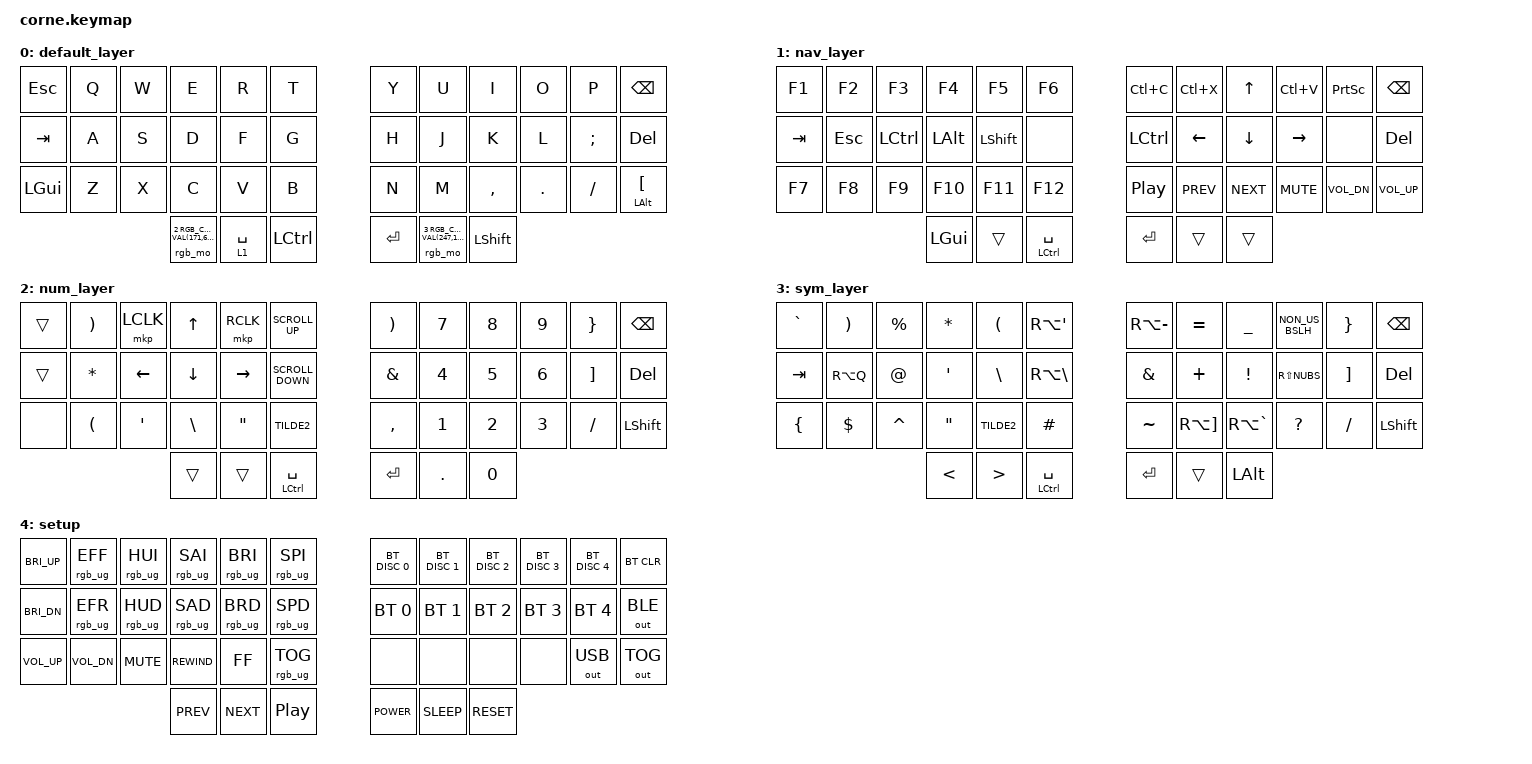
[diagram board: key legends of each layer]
/*
 * Copyright (c) 2020 The ZMK Contributors
 *
 * SPDX-License-Identifier: MIT
 */

#include <dt-bindings/led/led.h>
#include <behaviors.dtsi>
#include <dt-bindings/zmk/mouse.h>
#include <dt-bindings/zmk/bt.h>
#include <dt-bindings/zmk/keys.h>
#include <dt-bindings/zmk/outputs.h>
#include <dt-bindings/zmk/pointing.h>
#include <dt-bindings/zmk/rgb.h>

#define DVO     0
#define NAV     1
#define NUM     2
#define SYM     3
#define SUP     4

/ {
    macros {
        rgb_mo: rgb_mo {
            compatible = "zmk,behavior-macro-two-param";
            #binding-cells = <2>;
            bindings =
                <&macro_press>,
                <&macro_param_1to1 &mo MACRO_PLACEHOLDER>,
                <&macro_tap>,
                <&macro_param_2to2 &rgb_ug RGB_COLOR_HSB_CMD MACRO_PLACEHOLDER>,
                <&macro_pause_for_release>,
                <&macro_release>,
                <&macro_param_1to1 &mo MACRO_PLACEHOLDER>,
                <&macro_tap>,
                <&rgb_ug RGB_COLOR_HSB(0,0,0)>;

            label = "RGB_MO";
        };

        rgb_toggle: rgb_toggle {
            compatible = "zmk,behavior-macro-two-param";
            #binding-cells = <2>;
            bindings =
                <&macro_press>,
                <&macro_param_1to1 &to MACRO_PLACEHOLDER &macro_param_2to2 &rgb_ug RGB_COLOR_HSB_CMD MACRO_PLACEHOLDER>;

            label = "RGB_TOGGLE";
        };
    };

    combos {
        compatible = "zmk,combos";

        caps_word {
            bindings = <&caps_word>;
            key-positions = <30 29>;
            layers = <0>;
        };

        Numbers {
            bindings = <&rgb_toggle 2 RGB_COLOR_HSB_VAL(170,66,30)>;
            key-positions = <27 32>;
        };

        bols {
            bindings = <&rgb_toggle 3 RGB_COLOR_HSB_VAL(235,68,33)>;
            key-positions = <26 33>;
        };

        Setup {
            bindings = <&rgb_toggle 4 RGB_COLOR_HSB_VAL(0,100,40)>;
            key-positions = <24 35>;
        };

        default {
            bindings = <&rgb_toggle 0 RGB_COLOR_HSB_VAL(0,0,0)>;
            key-positions = <0 11>;
        };

        Movements {
            bindings = <&rgb_toggle 1 RGB_COLOR_HSB_VAL(30,99,27)>;
            key-positions = <28 31>;
        };
    };

    keymap {
        compatible = "zmk,keymap";

        default_layer {
            // -----------------------------------------------------------------------------------------
            // | ESC |  .  |  ,  |  Ñ  |  P  |  Y  |   |  F  |  G   |  C  |  H  |  L  | BKSP |
            // | TAB |  A  |  O  |  E  |  U  |  I  |   |  D  |  R   |  T  |  N  |  S  | SUP  |
            // | GUI |  '  |  Q  |  J  |  K  |  X  |   |  B  |  M   |  W  |  V  |  Z  | ´ ALT  |
            //                    | NUM | SPACE/NAV | CTRL |   | ENT |   | SHIFT/LOCK |

            bindings = <
&kp ESC   &kp Q  &kp W  &kp E                                   &kp R        &kp T        &kp Y    &kp U                                    &kp I       &kp O       &kp P          &kp BSPC
&kp TAB   &kp A  &kp S  &kp D                                   &kp F        &kp G        &kp H    &kp J                                    &kp K       &kp L       &kp SEMICOLON  &kp DEL
&kp LGUI  &kp Z  &kp X  &kp C                                   &kp V        &kp B        &kp N    &kp M                                    &kp COMMA   &kp PERIOD  &kp SLASH      &mt LALT LBKT
                        &rgb_mo 2 RGB_COLOR_HSB_VAL(171,61,25)  &lt 1 SPACE  &kp LCTRL    &kp RET  &rgb_mo 3 RGB_COLOR_HSB_VAL(247,100,50)  &kp LSHIFT
            >;
        };

        nav_layer {
            // -----------------------------------------------------------------------------------------
            // | F1  |  F2 |  F3    |  F4   |  F5     |  F6  |   |  COPY  |  CUT     |  UP    |  PASTE  |  IMPPAGE  | BKSP |
            // | TAB |     |  CTRL  |  ALT  |  SHIFT  |      |   |  CTRL  |  LEFT    |  DOWN  |  RIGHT  |           | SUP  |
            // | F7  |  F8 |  F9    |  F10  |  F11    |  F12 |   |  PAUS  |  ANTER   |  PROX  |   MUTE  |  -SON     | +SON  |
            //                      | GUI   |     | SPACE/CTRL |   | ENT |           |  LOL   |

            bindings = <
&kp F1   &kp F2   &kp F3     &kp F4    &kp F5      &kp F6             &kp LC(C)  &kp LC(X)   &kp UP      &kp LC(V)   &kp PSCRN     &kp BSPC
&kp TAB  &kp ESC  &kp LCTRL  &kp LALT  &kp LSHIFT  &none              &kp LCTRL  &kp LEFT    &kp DOWN    &kp RIGHT   &none         &kp DEL
&kp F7   &kp F8   &kp F9     &kp F10   &kp F11     &kp F12            &kp C_PP   &kp C_PREV  &kp C_NEXT  &kp C_MUTE  &kp C_VOL_DN  &kp C_VOL_UP
                             &kp LGUI  &trans      &mt LCTRL SPACE    &kp RET    &trans      &trans
            >;
        };

        num_layer {
            // -----------------------------------------------------------------------------------------
            // |  +BRI |  =  |  %  |  (   |   )  |  :  |     |  =  |  7  |  8  |  9  |  *  |  BKSP |
            // |  -BRI |  [  |  ]  |  {   |   }  |  ;  |     |  /  |  4  |  5  |  6  |  +  |  SUP  |
            // | BTRST |  B1 |  B2 |  B3  |  B4  |  B5 |     |  ,  |  1  |  2  |  3  |  -  | SHIFT |
            //                      |    |     | SPACE/CTRL |   | ENT |   .  |  0   |

            bindings = <
&trans  &kp RPAR   &mkp LCLK  &kp UP_ARROW    &mkp RCLK  &kp K_SCROLL_UP      &kp RPAR   &kp N7   &kp N8  &kp N9  &kp RBRC  &kp BSPC
&trans  &kp ASTRK  &kp LEFT   &kp DOWN_ARROW  &kp RIGHT  &kp K_SCROLL_DOWN    &kp AMPS   &kp N4   &kp N5  &kp N6  &kp RBKT  &kp DEL
&none   &kp LPAR   &kp SQT    &kp BSLH        &kp DQT    &kp TILDE2           &kp COMMA  &kp N1   &kp N2  &kp N3  &kp FSLH  &kp LEFT_SHIFT
                              &trans          &trans     &mt LCTRL SPACE      &kp RET    &kp DOT  &kp N0
            >;
        };

        sym_layer {
            // ----------------------------------------------------------------------------------------
            // |  |  |  =  |  %  |  (   |   )  |  ^  |     |  \  |  ¿  |  ?  |  <  |  *  |  BKSP |
            // | TAB |  @  |  "  |  {   |   }  |  `  |     |  /  |  ¡  |  !  |  >  |  +  |  SUP  |
            // |  ¨  |  $  |  &  |  [   |   ]  |  #  |     |  °  |  ~  |  ¬  |  _  |  -  | SHIFT |    
            //                      |  ;  |   :  | SPACE/CTRL |   | ENT |     |  ALT   |

            bindings = <
&kp GRAVE  &kp RPAR   &kp PRCNT  &kp ASTRK  &kp LPAR    &kp RA(APOS)       &kp RA(MINUS)  &kp EQUAL     &kp UNDER      &kp NON_US_BSLH  &kp RBRC  &kp BSPC
&kp TAB    &kp RA(Q)  &kp AT     &kp SQT    &kp BSLH    &kp RA(BSLH)       &kp AMPS       &kp PLUS      &kp EXCL       &kp RS(NUBS)     &kp RBKT  &kp DEL
&kp LBRC   &kp DLLR   &kp CARET  &kp DQT    &kp TILDE2  &kp HASH           &kp TILDE      &kp RA(RBKT)  &kp RA(GRAVE)  &kp QMARK        &kp FSLH  &kp LEFT_SHIFT
                                 &kp LT     &kp GT      &mt LCTRL SPACE    &kp RET        &trans        &kp LALT
            >;
        };

        setup {
            bindings = <
&kp C_BRI_UP  &rgb_ug RGB_EFF  &rgb_ug RGB_HUI  &rgb_ug RGB_SAI  &rgb_ug RGB_BRI  &rgb_ug RGB_SPI     &bt BT_DISC 0  &bt BT_DISC 1  &bt BT_DISC 2  &bt BT_DISC 3  &bt BT_DISC 4  &bt BT_CLR
&kp C_BRI_DN  &rgb_ug RGB_EFR  &rgb_ug RGB_HUD  &rgb_ug RGB_SAD  &rgb_ug RGB_BRD  &rgb_ug RGB_SPD     &bt BT_SEL 0   &bt BT_SEL 1   &bt BT_SEL 2   &bt BT_SEL 3   &bt BT_SEL 4   &out OUT_BLE
&kp C_VOL_UP  &kp C_VOL_DN     &kp C_MUTE       &kp C_REWIND     &kp C_FF         &rgb_ug RGB_TOG     &none          &none          &none          &none          &out OUT_USB   &out OUT_TOG
                                                &kp C_PREV       &kp C_NEXT       &kp C_PLAY_PAUSE    &kp C_POWER    &kp C_SLEEP    &kp C_RESET
            >;
        };
    };
};

&led_strip { chain-length = <27>; };
